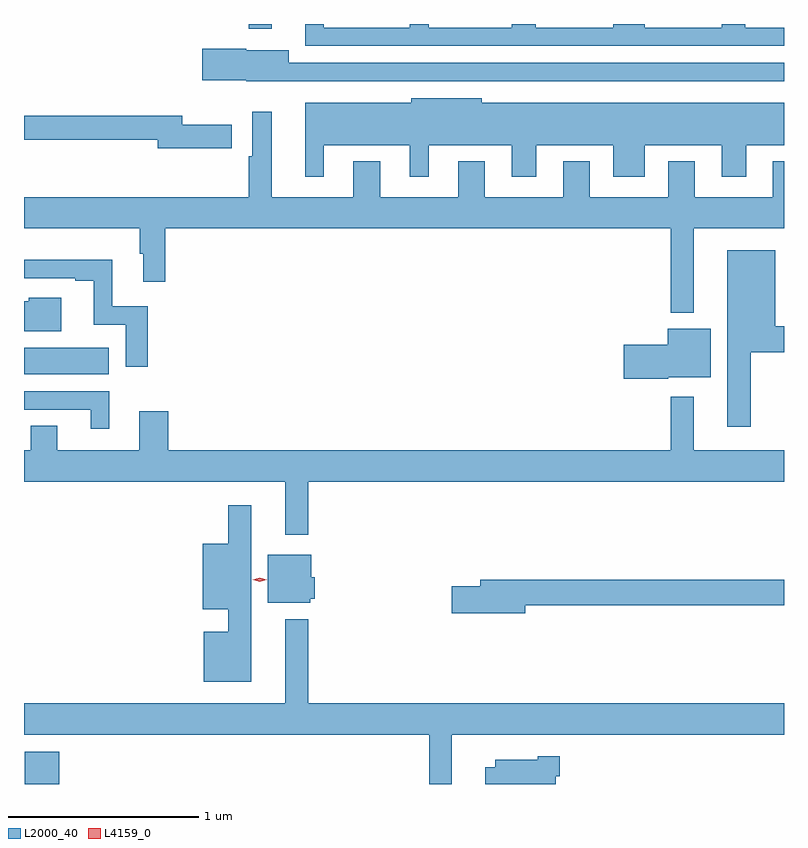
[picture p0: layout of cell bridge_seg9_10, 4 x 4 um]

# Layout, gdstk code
import gdstk
lib = gdstk.Library(unit=1e-6, precision=1e-09)
def R(c, l, rs):  # rectangles x0, y0, x1, y1
    for r in rs: c.add(gdstk.rectangle(r[:2], r[2:], *l))
def P(c, l, *ps):  # polygons
    for p in ps: c.add(gdstk.Polygon(p, *l))
L2000_40 = (2000, 40)
L4159_0 = (4159, 0)

bridge_seg9_10 = lib.new_cell('bridge_seg9_10')
R(bridge_seg9_10, L2000_40, [(1010.018,1233.456,1010.2,1233.625), (1010.015,1235.612,1010.461,1235.752), (1011.198,1237.431,1011.319,1237.456)])
P(bridge_seg9_10, L2000_40, [(1014.015,1237.437),(1013.812,1237.437),(1013.812,1237.456),(1013.687,1237.456),(1013.687,1237.437),(1013.281,1237.437),(1013.281,1237.456),(1013.117,1237.456),(1013.117,1237.437),(1012.708,1237.437),(1012.708,1237.456),(1012.583,1237.456),(1012.583,1237.437),(1012.144,1237.437),(1012.144,1237.456),(1012.046,1237.456),(1012.046,1237.437),(1011.592,1237.437),(1011.592,1237.456),(1011.494,1237.456),(1011.494,1237.341),(1014.015,1237.341)],
  [(1011.405,1237.155),(1014.015,1237.155),(1014.015,1237.251),(1011.409,1237.251),(1011.409,1237.318),(1011.186,1237.318),(1011.186,1237.326),(1010.952,1237.326),(1010.952,1237.16),(1011.186,1237.16),(1011.186,1237.154),(1011.405,1237.154)],
  [(1011.592,1236.818),(1012.046,1236.818),(1012.046,1236.651),(1012.144,1236.651),(1012.144,1236.818),(1012.583,1236.818),(1012.583,1236.651),(1012.711,1236.651),(1012.711,1236.818),(1013.117,1236.818),(1013.117,1236.651),(1013.281,1236.651),(1013.281,1236.818),(1013.687,1236.818),(1013.687,1236.651),(1013.815,1236.651),(1013.815,1236.818),(1014.015,1236.818),(1014.015,1237.042),(1012.425,1237.042),(1012.425,1237.066),(1012.053,1237.066),(1012.053,1237.042),(1011.494,1237.042),(1011.494,1236.651),(1011.592,1236.651)],
  [(1013.539,1236.38),(1014.015,1236.38),(1014.015,1236.733),(1013.957,1236.733),(1013.957,1236.544),(1013.545,1236.544),(1013.545,1236.733),(1013.405,1236.733),(1013.405,1236.544),(1012.993,1236.544),(1012.993,1236.733),(1012.853,1236.733),(1012.853,1236.544),(1012.441,1236.544),(1012.441,1236.733),(1012.301,1236.733),(1012.301,1236.544),(1011.889,1236.544),(1011.889,1236.733),(1011.749,1236.733),(1011.749,1236.544),(1011.319,1236.544),(1011.319,1236.994),(1011.215,1236.994),(1011.215,1236.761),(1011.198,1236.761),(1011.198,1236.544),(1010.015,1236.544),(1010.015,1236.38),(1010.623,1236.38),(1010.623,1236.248),(1010.642,1236.248),(1010.642,1236.099),(1010.759,1236.099),(1010.759,1236.38),(1013.418,1236.38),(1013.418,1235.936),(1013.539,1235.936)],
  [(1011.109,1236.925),(1010.848,1236.925),(1010.848,1236.974),(1010.015,1236.974),(1010.015,1236.846),(1010.72,1236.846),(1010.72,1236.803),(1011.109,1236.803)],
  [(1013.839,1235.728),(1014.015,1235.728),(1014.015,1235.864),(1013.968,1235.864),(1013.968,1236.265),(1013.717,1236.265),(1013.717,1235.337),(1013.839,1235.337)],
  [(1010.666,1235.97),(1010.479,1235.97),(1010.479,1236.214),(1010.015,1236.214),(1010.015,1236.117),(1010.285,1236.117),(1010.285,1236.105),(1010.381,1236.105),(1010.381,1235.874),(1010.55,1235.874),(1010.55,1235.652),(1010.666,1235.652)],
  [(1010.212,1236.016),(1010.04,1236.016),(1010.04,1235.998),(1010.015,1235.998),(1010.015,1235.84),(1010.212,1235.84)],
  [(1013.406,1235.597),(1013.629,1235.597),(1013.629,1235.851),(1013.402,1235.851),(1013.402,1235.768),(1013.172,1235.768),(1013.172,1235.59),(1013.406,1235.59)],
  [(1010.464,1235.523),(1010.015,1235.523),(1010.015,1235.427),(1010.366,1235.427),(1010.366,1235.325),(1010.464,1235.325)],
  [(1011.511,1235.048),(1014.015,1235.048),(1014.015,1235.212),(1013.539,1235.212),(1013.539,1235.494),(1013.418,1235.494),(1013.418,1235.212),(1010.774,1235.212),(1010.774,1235.419),(1010.621,1235.419),(1010.621,1235.212),(1010.191,1235.212),(1010.191,1235.342),(1010.051,1235.342),(1010.051,1235.212),(1010.015,1235.212),(1010.015,1235.048),(1011.389,1235.048),(1011.389,1234.767),(1011.511,1234.767)],
  [(1011.211,1234.924),(1011.09,1234.924),(1011.09,1234.72),(1010.957,1234.72),(1010.957,1234.376),(1011.09,1234.376),(1011.09,1234.258),(1010.96,1234.258),(1010.96,1233.995),(1011.211,1233.995)],
  [(1011.522,1234.431),(1011.544,1234.431),(1011.544,1234.545),(1011.526,1234.545),(1011.526,1234.663),(1011.299,1234.663),(1011.299,1234.409),(1011.522,1234.409)],
  [(1012.654,1234.396),(1014.015,1234.396),(1014.015,1234.532),(1012.415,1234.532),(1012.415,1234.496),(1012.266,1234.496),(1012.266,1234.354),(1012.654,1234.354)],
  [(1012.266,1233.716),(1014.015,1233.716),(1014.015,1233.88),(1011.511,1233.88),(1011.511,1234.324),(1011.389,1234.324),(1011.389,1233.88),(1010.015,1233.88),(1010.015,1233.716),(1012.147,1233.716),(1012.147,1233.456),(1012.266,1233.456)],
  [(1012.813,1233.497),(1012.835,1233.497),(1012.835,1233.601),(1012.719,1233.601),(1012.719,1233.583),(1012.496,1233.583),(1012.496,1233.544),(1012.442,1233.544),(1012.442,1233.456),(1012.813,1233.456)])
P(bridge_seg9_10, L4159_0, [(1011.256,1234.521),(1011.219,1234.531),(1011.219,1234.531),(1011.219,1234.532),(1011.256,1234.541),(1011.292,1234.532),(1011.292,1234.531),(1011.292,1234.531)])

lib.write_gds('bridge_seg9_10.gds')
